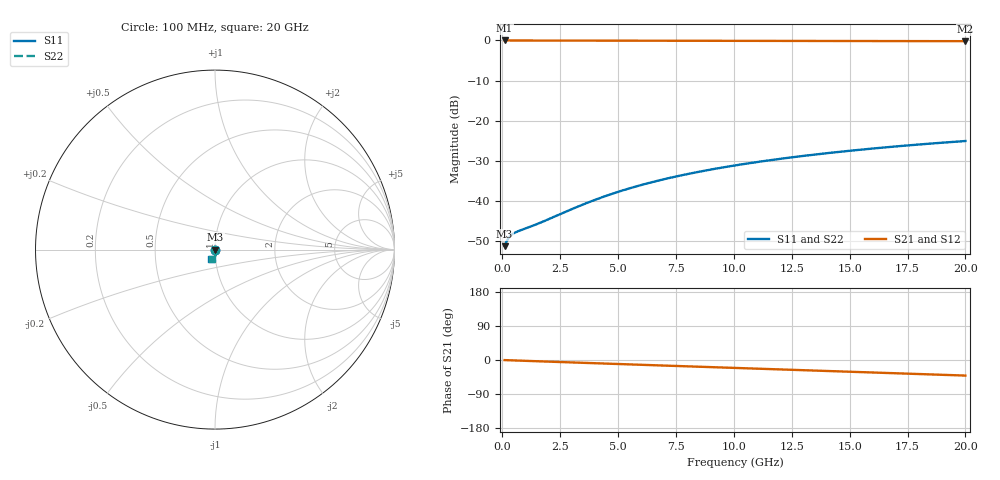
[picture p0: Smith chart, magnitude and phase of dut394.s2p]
! Touchstone file exported from HFSS 2026.1.0
!  File:  C:/ffzhzh/LocalFiles/Ansys_Project_Files/temp_train_BSMRDL_394_1783012220_51716.aedt
!  Generated:  01:11:36 AM Jul  3, 2026
!  Design:  BSMRDL
!  Project:  temp_train_BSMRDL_394_1783012220_51716
! Variables:
!  h_bsmrdl = 5.49um
!  h_ox = 20um
!  h_rdl = 5um
!  h_sub = 80um
!  h_tmrdl = 5um
!  h_tsv = 80um
!  h_via = 3um
!  l_bsmrdl = 744.79um
!  l_sub = 1144.79um
!  l_tmrdl = 200um
!  m_sub = 200um
!  pitch = 24.25um
!  r_tsv = 6um
!  s_tmrdl = 10um
!  w_bsmrdl = 19.98um
!  w_sub = 500um
!  w_tmrdl = 12um
!  x_tsv_center1 = 206um
!  x_tsv_center2 = 970.77um
!  x_tsv_center3 = 1182.77um
!  x_tsv_center4 = 1947.54um
!  x_tsv_center5 = 2159.54um
!  x_tsv_center6 = 2924.31um
# GHz S MA R 50.000000
! Terminal data exported
! Port[1] = BSM_RDL1_1_T1
! Port[2] = BSM_RDL1_1_T2
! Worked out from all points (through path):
!   200 points, 100 MHz to 20 GHz, reference 50 ohm
!   highest |S21| = -0.02 dB at 100 MHz (marker M1); lowest = -0.2 dB at 20 GHz (marker M2)
!   group delay of S21, straight-line fit = 5.68 ps
!   lowest |S11| = -51.2 dB at 100 MHz (marker M3), VSWR 1.01, Z = 50.3 + j0.0498 ohm
!   |S11| at or under -10 dB: start of sweep to end of sweep
!   |S22| runs from -51.2 to -25.0 dB; largest |S21 - S12| = 4.3e-15
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0.1  0.00275 10.4  0.9973 -0.3  0.9973 -0.3  0.002751 10.4
! Gamma 0 0 0 0
! Port Impedance 50 0 50 0
0.2  0.003214 12.1  0.9969 -0.5  0.9969 -0.5  0.003214 12.1
0.3  0.003573 9.8  0.9965 -0.7  0.9965 -0.7  0.003573 9.8
0.4  0.003816 6.7  0.9962 -0.9  0.9962 -0.9  0.003816 6.7
0.5  0.003989 3.7  0.996 -1.1  0.996 -1.1  0.003989 3.7
0.7  0.00424 -1.4  0.9957 -1.6  0.9957 -1.6  0.004241 -1.4
1.6  0.005322 -17.4  0.9948 -3.5  0.9948 -3.5  0.005327 -17.3
3.5  0.00911 -39.5  0.9922 -7.5  0.9922 -7.5  0.009133 -39.4
4.3  0.01114 -46.6  0.9911 -9.2  0.9911 -9.2  0.01117 -46.5
5.1  0.01331 -52.9  0.99 -10.8  0.99 -10.8  0.01335 -52.7
5.9  0.01557 -58.4  0.989 -12.5  0.989 -12.5  0.01563 -58.1
6.8  0.01818 -63.9  0.9879 -14.3  0.9879 -14.3  0.01825 -63.6
7.6  0.02053 -68.3  0.9871 -15.9  0.9871 -15.9  0.02061 -67.9
8.4  0.0229 -72.2  0.9862 -17.6  0.9862 -17.6  0.02299 -71.8
9.2  0.02528 -75.9  0.9855 -19.2  0.9855 -19.2  0.02537 -75.4
10.1  0.02795 -79.7  0.9846 -21.0  0.9846 -21.0  0.02806 -79.2
11.7  0.03269 -85.8  0.9832 -24.3  0.9832 -24.3  0.03282 -85.2
13.4  0.03767 -91.6  0.9818 -27.7  0.9818 -27.7  0.03783 -90.9
15  0.04229 -96.6  0.9804 -31.0  0.9804 -31.0  0.04247 -95.8
16.7  0.04708 -101.6  0.9791 -34.4  0.9791 -34.4  0.04729 -100.8
18.3  0.05146 -106.1  0.9778 -37.7  0.9778 -37.7  0.05169 -105.2
20  0.05594 -110.7  0.9764 -41.1  0.9764 -41.1  0.0562 -109.6
